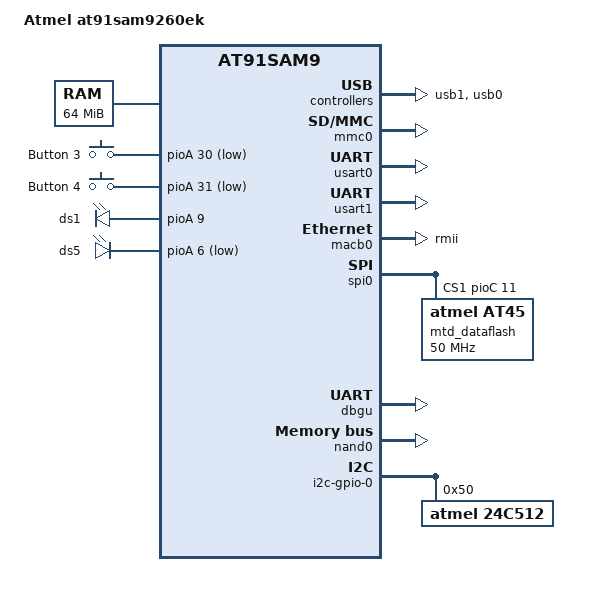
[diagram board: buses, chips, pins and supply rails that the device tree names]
// SPDX-License-Identifier: (GPL-2.0+ OR MIT)
/*
 * Device Tree file for Atmel at91sam9260 Evaluation Kit
 *
 *  Copyright (C) 2016 Atmel,
 *		  2016 Nicolas Ferre <nicolas.ferre@atmel.com>
 */
/dts-v1/;
#include "at91sam9260.dtsi"

/ {
	model = "Atmel at91sam9260ek";
	compatible = "atmel,at91sam9260ek", "atmel,at91sam9260", "atmel,at91sam9";

	chosen {
		stdout-path = &dbgu;
	};

	memory@20000000 {
		reg = <0x20000000 0x4000000>;
	};

	clocks {
		slow_xtal {
			clock-frequency = <32768>;
		};

		main_xtal {
			clock-frequency = <18432000>;
		};
	};

	ahb {
		apb {
			tcb0: timer@fffa0000 {
				timer@0 {
					compatible = "atmel,tcb-timer";
					reg = <0>, <1>;
				};

				timer@2 {
					compatible = "atmel,tcb-timer";
					reg = <2>;
				};
			};

			usb1: gadget@fffa4000 {
				atmel,vbus-gpio = <&pioC 5 GPIO_ACTIVE_HIGH>;
				status = "okay";
			};

			mmc0: mmc@fffa8000 {
				pinctrl-0 = <
					&pinctrl_board_mmc0_slot1
					&pinctrl_mmc0_clk
					&pinctrl_mmc0_slot1_cmd_dat0
					&pinctrl_mmc0_slot1_dat1_3>;
				pinctrl-names = "default";
				status = "okay";
				slot@1 {
					reg = <1>;
					bus-width = <4>;
					cd-gpios = <&pioC 9 GPIO_ACTIVE_HIGH>;
				};
			};

			usart0: serial@fffb0000 {
				pinctrl-0 =
					<&pinctrl_usart0
					 &pinctrl_usart0_rts
					 &pinctrl_usart0_cts
					 &pinctrl_usart0_dtr_dsr
					 &pinctrl_usart0_dcd
					 &pinctrl_usart0_ri>;
				status = "okay";
			};

			usart1: serial@fffb4000 {
				status = "okay";
			};

			ssc0: ssc@fffbc000 {
				status = "okay";
				pinctrl-0 = <&pinctrl_ssc0_tx>;
			};

			macb0: ethernet@fffc4000 {
				phy-mode = "rmii";
				status = "okay";
			};

			spi0: spi@fffc8000 {
				cs-gpios = <0>, <&pioC 11 0>, <0>, <0>;
				mtd_dataflash@1 {
					compatible = "atmel,at45", "atmel,dataflash";
					spi-max-frequency = <50000000>;
					reg = <1>;
				};
			};

			dbgu: serial@fffff200 {
				status = "okay";
			};

			pinctrl@fffff400 {
				board {
					pinctrl_board_mmc0_slot1: mmc0_slot1-board {
						atmel,pins =
							<AT91_PIOC 9 AT91_PERIPH_GPIO AT91_PINCTRL_PULL_UP_DEGLITCH>;
					};
				};
			};

			shdwc@fffffd10 {
				atmel,wakeup-counter = <10>;
				atmel,wakeup-rtt-timer;
			};

			rtc@fffffd20 {
				atmel,rtt-rtc-time-reg = <&gpbr 0x0>;
				status = "okay";
			};

			watchdog@fffffd40 {
				status = "okay";
			};

			gpbr: syscon@fffffd50 {
				status = "okay";
			};
		};

		usb0: ohci@500000 {
			num-ports = <2>;
			status = "okay";
		};

		nand0: nand@40000000 {
			nand-bus-width = <8>;
			nand-ecc-mode = "soft";
			nand-on-flash-bbt;
			status = "okay";
		};
	};

	gpio_keys {
		compatible = "gpio-keys";

		btn3 {
			label = "Button 3";
			gpios = <&pioA 30 GPIO_ACTIVE_LOW>;
			linux,code = <0x103>;
			wakeup-source;
		};

		btn4 {
			label = "Button 4";
			gpios = <&pioA 31 GPIO_ACTIVE_LOW>;
			linux,code = <0x104>;
			wakeup-source;
		};
	};

	i2c-gpio-0 {
		status = "okay";

		24c512@50 {
			compatible = "atmel,24c512";
			reg = <0x50>;
		};
	};

	leds {
		compatible = "gpio-leds";

		ds1 {
			label = "ds1";
			gpios = <&pioA 9 GPIO_ACTIVE_HIGH>;
			linux,default-trigger = "heartbeat";
		};

		ds5 {
			label = "ds5";
			gpios = <&pioA 6 GPIO_ACTIVE_LOW>;
		};
	};
};
